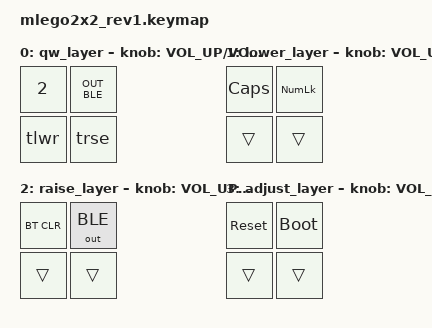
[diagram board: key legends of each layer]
/*
 * Copyright (c) 2022 The ZMK Contributors
 *
 * SPDX-License-Identifier: MIT
 */
 
#include <behaviors.dtsi>
#include <dt-bindings/zmk/keys.h>
#include <dt-bindings/zmk/outputs.h>
#include <dt-bindings/zmk/bt.h>

#define  QW 0
#define LWR 1
#define RSE 2
#define ADJ 3

/ {

    conditional_layers {
        compatible = "zmk,conditional-layers";
        tri_layer {
            if-layers = <LWR RSE>;
            then-layer = <ADJ>;
        };
    };

    behaviors {
        tlwr: tlwr {
            compatible = "zmk,behavior-tap-dance";
            label = "tlwr";
            #binding-cells = <0>;
            tapping-term-ms = <200>;
            bindings = <&mo LWR>, <&tog LWR>, <&trans>;
        };

        trse: trse {
            compatible = "zmk,behavior-tap-dance";
            label = "trse";
            #binding-cells = <0>;
            tapping-term-ms = <200>;
            bindings = <&mo RSE>, <&tog RSE>, <&trans>;
        };
    };

    keymap {
        compatible = "zmk,keymap";

        qw_layer {
            bindings = <
                 &kp N2 &kp OUT_BLE 
                 &tlwr  &trse
            >;
      sensor-bindings = <&inc_dec_kp C_VOL_UP C_VOL_DN>;
        };
        lower_layer {
            bindings = <
                &kp CAPS   &kp KP_NUM 
                &trans    &trans   
            >;
      sensor-bindings = <&inc_dec_kp C_VOL_UP C_VOL_DN>;
        };
        raise_layer {
            bindings = <
                &bt BT_CLR   &out OUT_BLE 
                &trans   &trans   
            >; 
      sensor-bindings = <&inc_dec_kp C_VOL_UP C_VOL_DN>;
        };

        adjust_layer {
            bindings = <
                &sys_reset &bootloader  
                &trans &trans 
            >;
      sensor-bindings = <&inc_dec_kp C_VOL_UP C_VOL_DN>;
        };

    };
};
